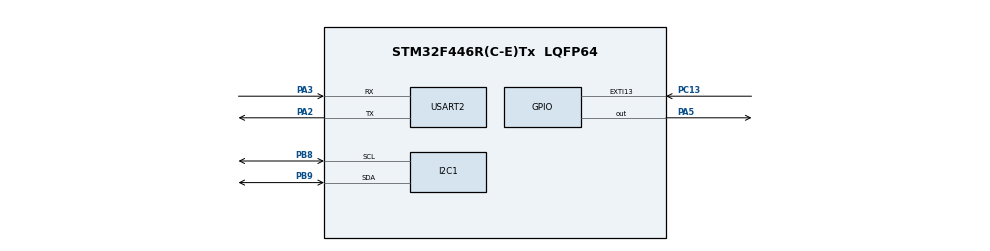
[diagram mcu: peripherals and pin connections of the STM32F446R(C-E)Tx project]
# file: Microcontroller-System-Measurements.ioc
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Mcu.Family=STM32F4
Mcu.Name=STM32F446R(C-E)Tx
Mcu.Package=LQFP64
NVIC.EXTI15_10_IRQn=true\:0\:0\:true\:false\:true\:true\:true\:true
NVIC.PriorityGroup=NVIC_PRIORITYGROUP_4
NVIC.TIM2_IRQn=true\:0\:0\:false\:false\:true\:true\:true\:true
NVIC.USART2_IRQn=true\:0\:0\:false\:false\:true\:true\:true\:true
PA13.Mode=Serial_Wire
PA13.Signal=SYS_JTMS-SWDIO
PA14.Mode=Serial_Wire
PA14.Signal=SYS_JTCK-SWCLK
PA2.Mode=Asynchronous
PA2.Signal=USART2_TX
PA3.Mode=Asynchronous
PA3.Signal=USART2_RX
PA5.Signal=GPIO_Output
PB8.Mode=I2C
PB8.Signal=I2C1_SCL
PB9.Mode=I2C
PB9.Signal=I2C1_SDA
PC13.Signal=GPXTI13
ProjectManager.HeapSize=0x200
ProjectManager.StackSize=0x400
ProjectManager.TargetToolchain=STM32CubeIDE
RCC.CortexFreq_Value=16000000
RCC.USBFreq_Value=96000000
RCC.VCOOutputFreq_Value=192000000
TIM2.Period=4999
TIM2.Prescaler=1599
USART2.VirtualMode=VM_ASYNC
VP_TIM2_VS_ClockSourceINT.Mode=Internal
board=custom

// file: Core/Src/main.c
/* USER CODE BEGIN Header */
/**
  ******************************************************************************
  * @file           : main.c
  * @brief          : Main program body
  ******************************************************************************
  * @attention
  *
  * Copyright (c) 2026 STMicroelectronics.
  * All rights reserved.
  *
  * This software is licensed under terms that can be found in the LICENSE file
  * in the root directory of this software component.
  * If no LICENSE file comes with this software, it is provided AS-IS.
  *
  ******************************************************************************
  */
/* USER CODE END Header */
#include "main.h"

/* USER CODE BEGIN PD */
#define BASE_DELAY 1000
#define PERIOD_TIME_SEC 5
#define WINDOW_SEC 180
/* USER CODE END PD */

I2C_HandleTypeDef hi2c1;

TIM_HandleTypeDef htim2;

UART_HandleTypeDef huart2;

/* USER CODE BEGIN PV */
uint32_t delay = BASE_DELAY;
volatile uint8_t resetFlag = 0;
volatile uint8_t timerFlag = 0;
volatile uint16_t curNumCharsTyped = 0;
uint8_t byteReceived;

/* USER CODE END PV */

void SystemClock_Config(void);
static void MX_GPIO_Init(void);
static void MX_I2C1_Init(void);
static void MX_TIM2_Init(void);
static void MX_USART2_UART_Init(void);

int main(void)
{

  /* USER CODE BEGIN 1 */
  uint8_t maxPeriods = WINDOW_SEC / PERIOD_TIME_SEC;
  uint8_t lastBufferIndex = maxPeriods - 1;
  uint16_t curNumCharsTypedCopy = 0;
  uint16_t curSpeed = 0;
  uint16_t prevAverage = 0;
  uint16_t curAverage = 0;
  uint16_t speedBuffer[WINDOW_SEC / PERIOD_TIME_SEC] = {0};

  uint16_t runningTotal = 0;
  uint8_t periods = 0;
  uint8_t start = 0;
  uint8_t end = 0;
  uint8_t periodPassed = 0;

  /* USER CODE END 1 */

  /* MCU Configuration--------------------------------------------------------*/

  /* Reset of all peripherals, Initializes the Flash interface and the Systick. */
  HAL_Init();

  /* Configure the system clock */
  SystemClock_Config();

  /* Initialize all configured peripherals */
  MX_GPIO_Init();
  MX_I2C1_Init();
  MX_TIM2_Init();
  MX_USART2_UART_Init();
  /* USER CODE BEGIN 2 */

  // Enable receiving data non-block mode
  HAL_UART_Receive_IT(&huart2, &byteReceived, 1);

  // Enable  timer interrupt mode
  HAL_TIM_Base_Start_IT(&htim2);

  Display_Init();

  /* USER CODE END 2 */

  /* Infinite loop */
  while (1)
  {

    /* USER CODE BEGIN 3 */

	if (resetFlag) {
		__disable_irq();
		runningTotal = 0;
		periods = 0;
		start = 0;
		end = 0;

		curNumCharsTyped = 0;
		timerFlag = 0;
		resetFlag = 0;
		__enable_irq();
		Display_ClearSpeed();
		Display_WriteSpeed(0);
		continue;
	}

	// Identify when 5 sec period passed and need to do work
	__disable_irq();
	periodPassed = timerFlag;
	timerFlag = 0;
	__enable_irq();

	if (periodPassed) {
		// Get new number of chars typed
		__disable_irq();
		curNumCharsTypedCopy = curNumCharsTyped;
		curNumCharsTyped = 0;
		__enable_irq();

		// Convert to numbers of speed (chars per minute)
		curSpeed = curNumCharsTypedCopy * 12;

		// If at least 36 periods (3 minutes has passed)
		if (periods == maxPeriods) {
			// Decrease running total by oldest period
			runningTotal -= speedBuffer[start];
			// Update index of oldest period
			if (start == lastBufferIndex) {
				start = 0;
			}
			else {
				start++;
			}
		}
		else {
			periods++;
		}

		// Increase runningTotal by this period's speed
		runningTotal += curSpeed;

		curAverage = (int)(runningTotal / periods);

		if (curAverage != prevAverage) {
			Display_ClearSpeed();
			// Display the average number of chars typed
			Display_WriteSpeed(curAverage);
			prevAverage = curAverage;
		}

		// Store this period's speed to buffer
		speedBuffer[end] = curSpeed;

		// Update next index for buffer
		if (end == lastBufferIndex) {
			end = 0;
		}
		else {
			end++;
		}

		periodPassed  = 0;
	}
  }
  /* USER CODE END 3 */
}

void SystemClock_Config(void)
{
  RCC_OscInitTypeDef RCC_OscInitStruct = {0};
  RCC_ClkInitTypeDef RCC_ClkInitStruct = {0};

  /** Configure the main internal regulator output voltage
  */
  __HAL_RCC_PWR_CLK_ENABLE();
  __HAL_PWR_VOLTAGESCALING_CONFIG(PWR_REGULATOR_VOLTAGE_SCALE3);

  /** Initializes the RCC Oscillators according to the specified parameters
  * in the RCC_OscInitTypeDef structure.
  */
  RCC_OscInitStruct.OscillatorType = RCC_OSCILLATORTYPE_HSI;
  RCC_OscInitStruct.HSIState = RCC_HSI_ON;
  RCC_OscInitStruct.HSICalibrationValue = RCC_HSICALIBRATION_DEFAULT;
  RCC_OscInitStruct.PLL.PLLState = RCC_PLL_NONE;
  if (HAL_RCC_OscConfig(&RCC_OscInitStruct) != HAL_OK)
  {
    Error_Handler();
  }

  /** Initializes the CPU, AHB and APB buses clocks
  */
  RCC_ClkInitStruct.ClockType = RCC_CLOCKTYPE_HCLK|RCC_CLOCKTYPE_SYSCLK
                              |RCC_CLOCKTYPE_PCLK1|RCC_CLOCKTYPE_PCLK2;
  RCC_ClkInitStruct.SYSCLKSource = RCC_SYSCLKSOURCE_HSI;
  RCC_ClkInitStruct.AHBCLKDivider = RCC_SYSCLK_DIV1;
  RCC_ClkInitStruct.APB1CLKDivider = RCC_HCLK_DIV1;
  RCC_ClkInitStruct.APB2CLKDivider = RCC_HCLK_DIV1;

  if (HAL_RCC_ClockConfig(&RCC_ClkInitStruct, FLASH_LATENCY_0) != HAL_OK)
  {
    Error_Handler();
  }
}

static void MX_I2C1_Init(void)
{

  hi2c1.Instance = I2C1;
  hi2c1.Init.ClockSpeed = 100000;
  hi2c1.Init.DutyCycle = I2C_DUTYCYCLE_2;
  hi2c1.Init.OwnAddress1 = 0;
  hi2c1.Init.AddressingMode = I2C_ADDRESSINGMODE_7BIT;
  hi2c1.Init.DualAddressMode = I2C_DUALADDRESS_DISABLE;
  hi2c1.Init.OwnAddress2 = 0;
  hi2c1.Init.GeneralCallMode = I2C_GENERALCALL_DISABLE;
  hi2c1.Init.NoStretchMode = I2C_NOSTRETCH_DISABLE;
  if (HAL_I2C_Init(&hi2c1) != HAL_OK)
  {
    Error_Handler();
  }

}

static void MX_TIM2_Init(void)
{

  TIM_ClockConfigTypeDef sClockSourceConfig = {0};
  TIM_MasterConfigTypeDef sMasterConfig = {0};

  htim2.Instance = TIM2;
  htim2.Init.Prescaler = 1599;
  htim2.Init.CounterMode = TIM_COUNTERMODE_UP;
  htim2.Init.Period = 4999;
  htim2.Init.ClockDivision = TIM_CLOCKDIVISION_DIV1;
  htim2.Init.AutoReloadPreload = TIM_AUTORELOAD_PRELOAD_DISABLE;
  if (HAL_TIM_Base_Init(&htim2) != HAL_OK)
  {
    Error_Handler();
  }
  sClockSourceConfig.ClockSource = TIM_CLOCKSOURCE_INTERNAL;
  if (HAL_TIM_ConfigClockSource(&htim2, &sClockSourceConfig) != HAL_OK)
  {
    Error_Handler();
  }
  sMasterConfig.MasterOutputTrigger = TIM_TRGO_RESET;
  sMasterConfig.MasterSlaveMode = TIM_MASTERSLAVEMODE_DISABLE;
  if (HAL_TIMEx_MasterConfigSynchronization(&htim2, &sMasterConfig) != HAL_OK)
  {
    Error_Handler();
  }

}

static void MX_USART2_UART_Init(void)
{

  huart2.Instance = USART2;
  huart2.Init.BaudRate = 115200;
  huart2.Init.WordLength = UART_WORDLENGTH_8B;
  huart2.Init.StopBits = UART_STOPBITS_1;
  huart2.Init.Parity = UART_PARITY_NONE;
  huart2.Init.Mode = UART_MODE_TX_RX;
  huart2.Init.HwFlowCtl = UART_HWCONTROL_NONE;
  huart2.Init.OverSampling = UART_OVERSAMPLING_16;
  if (HAL_UART_Init(&huart2) != HAL_OK)
  {
    Error_Handler();
  }

}

static void MX_GPIO_Init(void)
{
  GPIO_InitTypeDef GPIO_InitStruct = {0};

  /* GPIO Ports Clock Enable */
  __HAL_RCC_GPIOC_CLK_ENABLE();
  __HAL_RCC_GPIOA_CLK_ENABLE();
  __HAL_RCC_GPIOB_CLK_ENABLE();

  /*Configure GPIO pin Output Level */
  HAL_GPIO_WritePin(GPIOA, GPIO_PIN_5, GPIO_PIN_RESET);

  /*Configure GPIO pin : PC13 */
  GPIO_InitStruct.Pin = GPIO_PIN_13;
  GPIO_InitStruct.Mode = GPIO_MODE_IT_RISING;
  GPIO_InitStruct.Pull = GPIO_NOPULL;
  HAL_GPIO_Init(GPIOC, &GPIO_InitStruct);

  /*Configure GPIO pin : PA5 */
  GPIO_InitStruct.Pin = GPIO_PIN_5;
  GPIO_InitStruct.Mode = GPIO_MODE_OUTPUT_PP;
  GPIO_InitStruct.Pull = GPIO_NOPULL;
  GPIO_InitStruct.Speed = GPIO_SPEED_FREQ_LOW;
  HAL_GPIO_Init(GPIOA, &GPIO_InitStruct);

  /* EXTI interrupt init*/
  HAL_NVIC_SetPriority(EXTI15_10_IRQn, 0, 0);
  HAL_NVIC_EnableIRQ(EXTI15_10_IRQn);

}

/* USER CODE BEGIN 4 */

void HAL_GPIO_EXTI_Callback(uint16_t GPIO_Pin) {
	if (GPIO_Pin == GPIO_PIN_13) {
		resetFlag = 1;
	}
}

/*
 * @brief Callback function for when letter key is pressed
 * @param huart pointer to UART
 * @retval None
 */
void HAL_UART_RxCpltCallback(UART_HandleTypeDef *huart) {
	if (huart->Instance == USART2) {
		if (byteReceived >= 65 && byteReceived <= 90) {
			curNumCharsTyped++;
		}
	}
	HAL_UART_Receive_IT(huart, &byteReceived, 1);
}

/*
 * @brief Callback function to set flag when timer period elapses
 * @param htim pointer to timer
 * @retval None
 */
// Callback function to set flag when timer period elapses
void HAL_TIM_PeriodElapsedCallback(TIM_HandleTypeDef *htim) {
	if (htim->Instance == TIM2) {
		timerFlag = 1;
	}
}

/* USER CODE END 4 */

void Error_Handler(void)
{
  __disable_irq();
  while (1)
  {
  }
}
